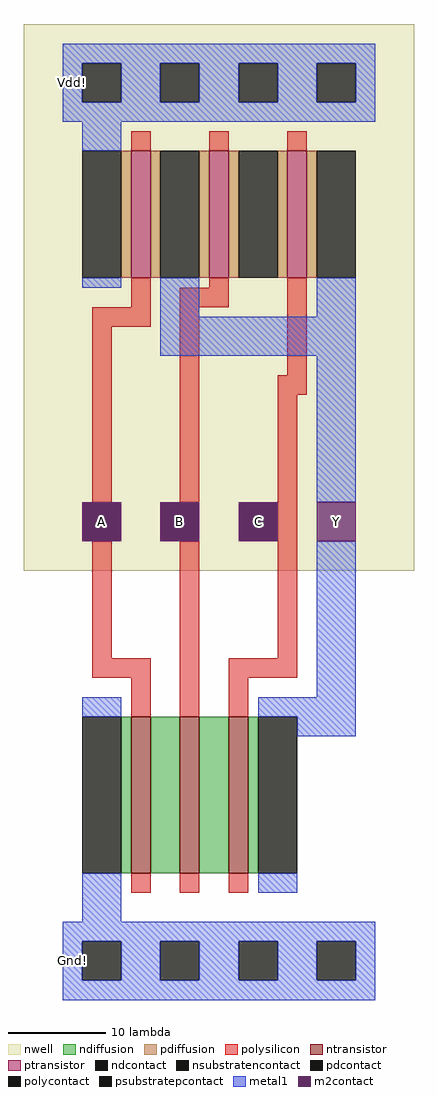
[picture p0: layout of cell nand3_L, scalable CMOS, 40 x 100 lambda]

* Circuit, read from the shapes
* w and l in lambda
.subckt nand3_L A B C Gnd! Vdd! Y
M1 n1 A Gnd! Gnd! nfet w=16 l=2
M2 n2 B n1 Gnd! nfet w=16 l=2
M3 Y C n2 Gnd! nfet w=16 l=2
M4 Y A Vdd! Vdd! pfet w=13 l=2
M5 n3 B Y Vdd! pfet w=13 l=2
M6 Y C n3 Vdd! pfet w=13 l=2
.ends

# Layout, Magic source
magic
tech scmos
<< nwell >>
rect -6 40 34 96
<< ntransistor >>
rect 5 9 7 25
rect 10 9 12 25
rect 15 9 17 25
<< ptransistor >>
rect 5 70 7 83
rect 13 70 15 83
rect 21 70 23 83
<< ndiffusion >>
rect 4 9 5 25
rect 7 9 10 25
rect 12 9 15 25
rect 17 9 18 25
<< pdiffusion >>
rect 4 70 5 83
rect 7 70 8 83
rect 12 70 13 83
rect 15 70 16 83
rect 20 70 21 83
rect 23 70 24 83
<< ndcontact >>
rect 0 9 4 25
rect 18 9 22 25
<< pdcontact >>
rect 0 70 4 83
rect 8 70 12 83
rect 16 70 20 83
rect 24 70 28 83
<< psubstratepcontact >>
rect 0 -2 4 2
rect 8 -2 12 2
rect 16 -2 20 2
rect 24 -2 28 2
<< nsubstratencontact >>
rect 0 88 4 92
rect 8 88 12 92
rect 16 88 20 92
rect 24 88 28 92
<< polysilicon >>
rect 5 83 7 85
rect 13 83 15 85
rect 21 83 23 85
rect 5 67 7 70
rect 13 69 15 70
rect 1 65 7 67
rect 10 67 15 69
rect 1 47 3 65
rect 10 47 12 67
rect 21 60 23 70
rect 20 58 23 60
rect 1 31 3 43
rect 1 29 7 31
rect 5 25 7 29
rect 10 25 12 43
rect 20 31 22 58
rect 15 29 22 31
rect 15 25 17 29
rect 5 7 7 9
rect 10 7 12 9
rect 15 7 17 9
<< polycontact >>
rect 0 43 4 47
rect 8 43 12 47
rect 16 43 20 47
<< metal1 >>
rect -2 92 30 94
rect -2 88 0 92
rect 4 88 8 92
rect 12 88 16 92
rect 20 88 24 92
rect 28 88 30 92
rect -2 86 30 88
rect 0 83 4 86
rect 0 69 4 70
rect 8 66 12 70
rect 24 66 28 70
rect 8 62 28 66
rect 24 47 28 62
rect 24 27 28 43
rect 0 25 4 27
rect 0 4 4 9
rect 18 25 28 27
rect 22 23 28 25
rect 18 7 22 9
rect -2 2 30 4
rect -2 -2 0 2
rect 4 -2 8 2
rect 12 -2 16 2
rect 20 -2 24 2
rect 28 -2 30 2
rect -2 -4 30 -2
<< m2contact >>
rect 0 43 4 47
rect 8 43 12 47
rect 16 43 20 47
rect 24 43 28 47
<< labels >>
rlabel metal1 -1 90 -1 90 3 Vdd!
rlabel metal1 -1 0 -1 0 2 Gnd!
rlabel m2contact 2 45 2 45 1 A
rlabel m2contact 10 45 10 45 1 B
rlabel m2contact 18 45 18 45 1 C
rlabel m2contact 26 45 26 45 1 Y
<< end >>
